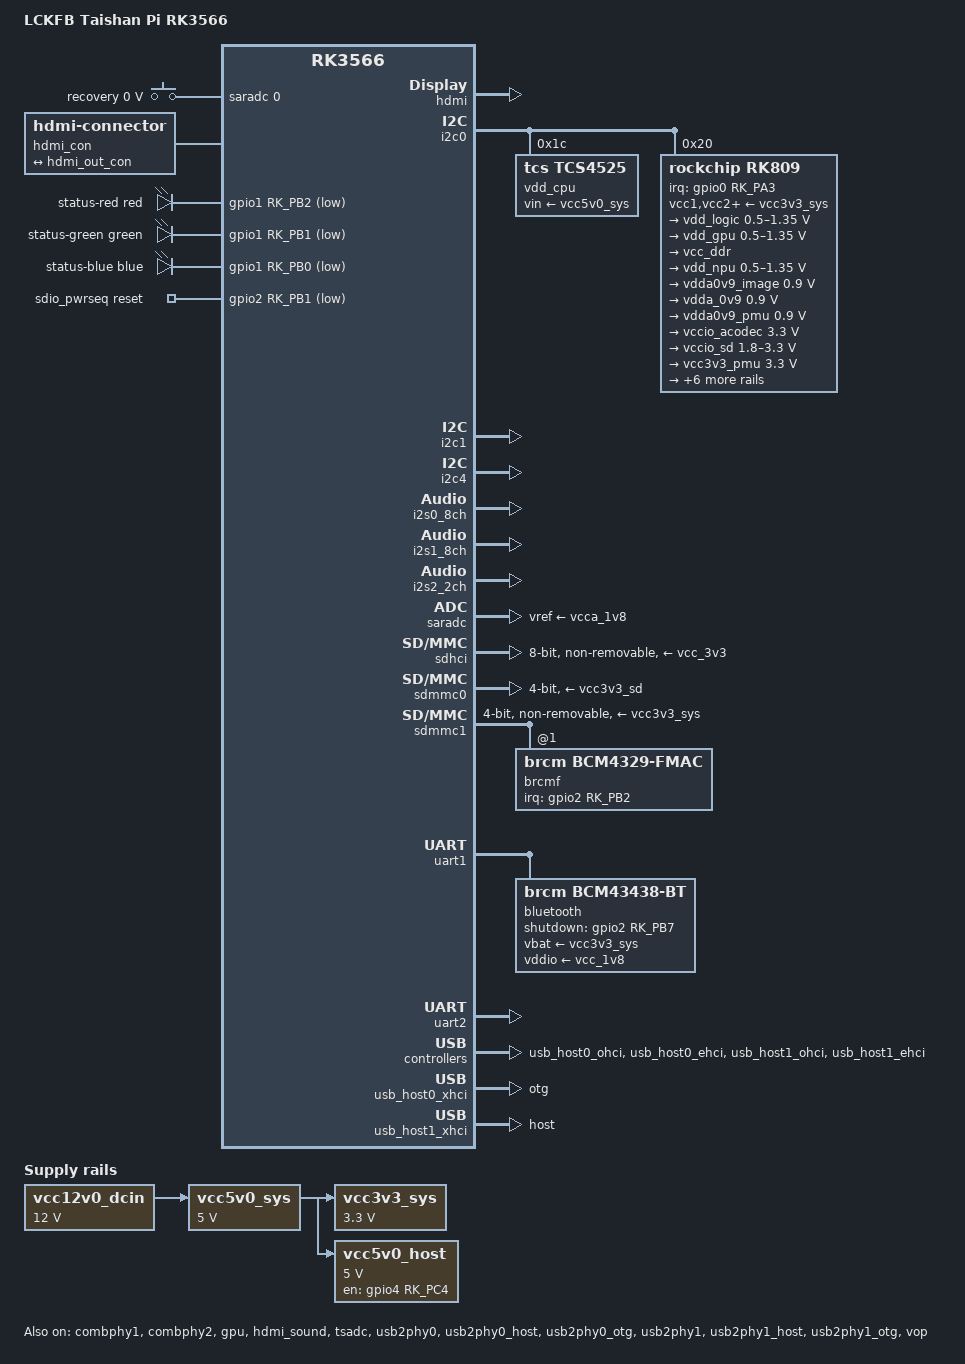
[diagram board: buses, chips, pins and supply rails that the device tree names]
// SPDX-License-Identifier: (GPL-2.0+ OR MIT)

/dts-v1/;

#include <dt-bindings/gpio/gpio.h>
#include <dt-bindings/input/input.h>
#include <dt-bindings/leds/common.h>
#include <dt-bindings/pinctrl/rockchip.h>
#include <dt-bindings/soc/rockchip,vop2.h>
#include <dt-bindings/soc/rockchip,boot-mode.h>
#include "rk3566.dtsi"

/ {
	model = "LCKFB Taishan Pi RK3566";
	compatible = "lckfb,tspi-rk3566", "rockchip,rk3566";

	aliases {
		mmc0 = &sdmmc0;
		mmc1 = &sdhci;
		mmc2 = &sdmmc1;
	};

	chosen: chosen {
		stdout-path = "serial2:1500000n8";
	};

	reserved-memory {
		#address-cells = <2>;
		#size-cells = <2>;
		ranges;

		ramoops: ramoops@110000 {
			compatible = "ramoops";
			reg = <0 0x110000 0 0xf0000>;
			console-size = <0x80000>;
			ftrace-size = <0x00000>;
			pmsg-size = <0x50000>;
			record-size = <0x20000>;
		};
	};

	adc_keys: adc-keys {
		compatible = "adc-keys";
		io-channels = <&saradc 0>;
		io-channel-names = "buttons";
		keyup-threshold-microvolt = <1800000>;
		poll-interval = <100>;

		button-recovery {
			label = "recovery";
			linux,code = <KEY_RESTART>;
			press-threshold-microvolt = <108>;
		};
	};

	hdmi_con: hdmi-con {
		compatible = "hdmi-connector";
		type = "d";

		port {
			hdmi_con_in: endpoint {
				remote-endpoint = <&hdmi_out_con>;
			};
		};
	};

	leds: leds {
		compatible = "gpio-leds";

		rgb_led_r: rgb-led-r {
			color = <LED_COLOR_ID_RED>;
			gpios = <&gpio1 RK_PB2 GPIO_ACTIVE_LOW>;
			label = "status-red";
		};

		rgb_led_g: rgb-led-g {
			gpios = <&gpio1 RK_PB1 GPIO_ACTIVE_LOW>;
			color = <LED_COLOR_ID_GREEN>;
			label = "status-green";
		};

		rgb_led_b: rgb-led-b {
			gpios = <&gpio1 RK_PB0 GPIO_ACTIVE_LOW>;
			color = <LED_COLOR_ID_BLUE>;
			label = "status-blue";
		};
	};

	multi_leds: multi-led {
		compatible = "leds-group-multicolor";
		color = <LED_COLOR_ID_RGB>;
		label = "status-rgb";
		function = LED_FUNCTION_INDICATOR;
		leds = <&rgb_led_r>, <&rgb_led_g>, <&rgb_led_b>;
	};

	vcc12v0_dcin: regulator-12v0-dcin {
		compatible = "regulator-fixed";
		regulator-name = "vcc12v0_dcin";
		regulator-always-on;
		regulator-boot-on;
		regulator-min-microvolt = <12000000>;
		regulator-max-microvolt = <12000000>;
	};

	vcc3v3_sys: regulator-3v3-vcc-sys {
		compatible = "regulator-fixed";
		regulator-name = "vcc3v3_sys";
		regulator-always-on;
		regulator-boot-on;
		regulator-min-microvolt = <3300000>;
		regulator-max-microvolt = <3300000>;
		vin-supply = <&vcc5v0_sys>;
	};

	vcc5v0_sys: regulator-5v0-vcc-sys {
		compatible = "regulator-fixed";
		regulator-name = "vcc5v0_sys";
		regulator-always-on;
		regulator-boot-on;
		regulator-min-microvolt = <5000000>;
		regulator-max-microvolt = <5000000>;
		vin-supply = <&vcc12v0_dcin>;
	};

	vcc5v0_host: regulator-5v0-vcc-host {
		compatible = "regulator-fixed";
		enable-active-high;
		gpio = <&gpio4 RK_PC4 GPIO_ACTIVE_HIGH>;
		pinctrl-names = "default";
		pinctrl-0 = <&vcc5v0_host_en>;
		regulator-name = "vcc5v0_host";
		regulator-min-microvolt = <5000000>;
		regulator-max-microvolt = <5000000>;
		vin-supply = <&vcc5v0_sys>;
	};

	sdio_pwrseq: sdio-pwrseq {
		compatible = "mmc-pwrseq-simple";
		clocks = <&rk809 1>;
		clock-names = "ext_clock";
		pinctrl-names = "default";
		pinctrl-0 = <&wifi_enable_h>;
		post-power-on-delay-ms = <200>;
		reset-gpios = <&gpio2 RK_PB1 GPIO_ACTIVE_LOW>;
	};

	sound {
		compatible = "simple-audio-card";
		simple-audio-card,format = "i2s";
		simple-audio-card,name = "Analog RK809";
		simple-audio-card,mclk-fs = <256>;

		simple-audio-card,cpu {
			sound-dai = <&i2s1_8ch>;
		};

		simple-audio-card,codec {
			sound-dai = <&rk809>;
		};
	};
};

&combphy1 {
	status = "okay";
};

&combphy2 {
	status = "okay";
};

&cpu0 {
	cpu-supply = <&vdd_cpu>;
};

&cpu1 {
	cpu-supply = <&vdd_cpu>;
};

&cpu2 {
	cpu-supply = <&vdd_cpu>;
};

&cpu3 {
	cpu-supply = <&vdd_cpu>;
};

&gpu {
	mali-supply = <&vdd_gpu>;
	status = "okay";
};

&hdmi {
	avdd-0v9-supply = <&vdda0v9_image>;
	avdd-1v8-supply = <&vcca1v8_image>;
	status = "okay";
};

&hdmi_in {
	hdmi_in_vp0: endpoint {
		remote-endpoint = <&vp0_out_hdmi>;
	};
};

&hdmi_out {
	hdmi_out_con: endpoint {
		remote-endpoint = <&hdmi_con_in>;
	};
};

&hdmi_sound {
	status = "okay";
};

&i2c0 {
	status = "okay";

	vdd_cpu: regulator@1c {
		compatible = "tcs,tcs4525";
		reg = <0x1c>;
		fcs,suspend-voltage-selector = <1>;
		regulator-name = "vdd_cpu";
		regulator-always-on;
		regulator-boot-on;
		regulator-min-microvolt = <800000>;
		regulator-max-microvolt = <1150000>;
		regulator-ramp-delay = <2300>;
		vin-supply = <&vcc5v0_sys>;

		regulator-state-mem {
			regulator-off-in-suspend;
		};
	};

	rk809: pmic@20 {
		compatible = "rockchip,rk809";
		reg = <0x20>;
		assigned-clocks = <&cru I2S1_MCLKOUT_TX>;
		assigned-clock-parents = <&cru CLK_I2S1_8CH_TX>;
		#clock-cells = <1>;
		clock-output-names = "rk808-clkout1", "rk808-clkout2";
		clock-names = "mclk";
		clocks = <&cru I2S1_MCLKOUT_TX>;
		interrupt-parent = <&gpio0>;
		interrupts = <RK_PA3 IRQ_TYPE_LEVEL_LOW>;
		pinctrl-names = "default";
		pinctrl-0 = <&pmic_int>, <&i2s1m0_mclk>;
		system-power-controller;
		#sound-dai-cells = <0>;
		wakeup-source;

		vcc1-supply = <&vcc3v3_sys>;
		vcc2-supply = <&vcc3v3_sys>;
		vcc3-supply = <&vcc3v3_sys>;
		vcc4-supply = <&vcc3v3_sys>;
		vcc5-supply = <&vcc3v3_sys>;
		vcc6-supply = <&vcc3v3_sys>;
		vcc7-supply = <&vcc3v3_sys>;
		vcc8-supply = <&vcc3v3_sys>;
		vcc9-supply = <&vcc3v3_sys>;

		regulators {
			vdd_logic: DCDC_REG1 {
				regulator-name = "vdd_logic";
				regulator-always-on;
				regulator-boot-on;
				regulator-min-microvolt = <500000>;
				regulator-max-microvolt = <1350000>;
				regulator-ramp-delay = <6001>;
				regulator-initial-mode = <0x2>;

				regulator-state-mem {
					regulator-off-in-suspend;
				};
			};

			vdd_gpu: DCDC_REG2 {
				regulator-name = "vdd_gpu";
				regulator-always-on;
				regulator-boot-on;
				regulator-min-microvolt = <500000>;
				regulator-max-microvolt = <1350000>;
				regulator-ramp-delay = <6001>;
				regulator-initial-mode = <0x2>;

				regulator-state-mem {
					regulator-off-in-suspend;
				};
			};

			vcc_ddr: DCDC_REG3 {
				regulator-name = "vcc_ddr";
				regulator-always-on;
				regulator-boot-on;
				regulator-initial-mode = <0x2>;

				regulator-state-mem {
					regulator-on-in-suspend;
				};
			};

			vdd_npu: DCDC_REG4 {
				regulator-name = "vdd_npu";
				regulator-always-on;
				regulator-boot-on;
				regulator-min-microvolt = <500000>;
				regulator-max-microvolt = <1350000>;
				regulator-ramp-delay = <6001>;
				regulator-initial-mode = <0x2>;

				regulator-state-mem {
					regulator-off-in-suspend;
				};
			};

			vdda0v9_image: LDO_REG1 {
				regulator-name = "vdda0v9_image";
				regulator-boot-on;
				regulator-always-on;
				regulator-min-microvolt = <900000>;
				regulator-max-microvolt = <900000>;

				regulator-state-mem {
					regulator-off-in-suspend;
				};
			};

			vdda_0v9: LDO_REG2 {
				regulator-name = "vdda_0v9";
				regulator-always-on;
				regulator-boot-on;
				regulator-min-microvolt = <900000>;
				regulator-max-microvolt = <900000>;
				regulator-state-mem {
					regulator-off-in-suspend;
				};
			};

			vdda0v9_pmu: LDO_REG3 {
				regulator-name = "vdda0v9_pmu";
				regulator-always-on;
				regulator-boot-on;
				regulator-min-microvolt = <900000>;
				regulator-max-microvolt = <900000>;

				regulator-state-mem {
					regulator-on-in-suspend;
					regulator-suspend-microvolt = <900000>;
				};
			};

			vccio_acodec: LDO_REG4 {
				regulator-name = "vccio_acodec";
				regulator-always-on;
				regulator-boot-on;
				regulator-min-microvolt = <3300000>;
				regulator-max-microvolt = <3300000>;

				regulator-state-mem {
					regulator-off-in-suspend;
				};
			};

			vccio_sd: LDO_REG5 {
				regulator-name = "vccio_sd";
				regulator-always-on;
				regulator-boot-on;
				regulator-min-microvolt = <1800000>;
				regulator-max-microvolt = <3300000>;

				regulator-state-mem {
					regulator-off-in-suspend;
				};
			};

			vcc3v3_pmu: LDO_REG6 {
				regulator-name = "vcc3v3_pmu";
				regulator-always-on;
				regulator-boot-on;
				regulator-min-microvolt = <3300000>;
				regulator-max-microvolt = <3300000>;

				regulator-state-mem {
					regulator-on-in-suspend;
					regulator-suspend-microvolt = <3300000>;
				};
			};

			vcca_1v8: LDO_REG7 {
				regulator-name = "vcca_1v8";
				regulator-always-on;
				regulator-boot-on;
				regulator-min-microvolt = <1800000>;
				regulator-max-microvolt = <1800000>;

				regulator-state-mem {
					regulator-off-in-suspend;
				};
			};

			vcca1v8_pmu: LDO_REG8 {
				regulator-name = "vcca1v8_pmu";
				regulator-always-on;
				regulator-boot-on;
				regulator-min-microvolt = <1800000>;
				regulator-max-microvolt = <1800000>;

				regulator-state-mem {
					regulator-on-in-suspend;
					regulator-suspend-microvolt = <1800000>;
				};
			};

			vcca1v8_image: LDO_REG9 {
				regulator-name = "vcca1v8_image";
				regulator-always-on;
				regulator-boot-on;
				regulator-min-microvolt = <1800000>;
				regulator-max-microvolt = <1800000>;

				regulator-state-mem {
					regulator-off-in-suspend;
				};
			};

			vcc_1v8: DCDC_REG5 {
				regulator-name = "vcc_1v8";
				regulator-always-on;
				regulator-boot-on;
				regulator-min-microvolt = <1800000>;
				regulator-max-microvolt = <1800000>;

				regulator-state-mem {
					regulator-off-in-suspend;
				};
			};

			vcc_3v3: SWITCH_REG1 {
				regulator-name = "vcc_3v3";
				regulator-always-on;
				regulator-boot-on;

				regulator-state-mem {
					regulator-off-in-suspend;
				};
			};

			vcc3v3_sd: SWITCH_REG2 {
				regulator-name = "vcc3v3_sd";
				regulator-always-on;
				regulator-boot-on;

				regulator-state-mem {
					regulator-off-in-suspend;
				};
			};
		};

		codec {
			rockchip,mic-in-differential;
		};
	};
};

&i2c1 {
	status = "okay";
	/* Touch Screen */
};

&i2c4 {
	pinctrl-names = "default";
	pinctrl-0 = <&i2c4m0_xfer>;
	status = "okay";
	/* Camera */
};

&i2s0_8ch {
	status = "okay";
	/* HDMI */
};

&i2s1_8ch {
	pinctrl-names = "default";
	pinctrl-0 = <&i2s1m0_sclktx &i2s1m0_lrcktx &i2s1m0_sdi0 &i2s1m0_sdo0>;
	rockchip,trcm-sync-tx-only;
	status = "okay";
	/* PMIC */
};

&i2s2_2ch {
	rockchip,trcm-sync-tx-only;
	status = "okay";
	/* AP6212 Bluetooth */
};

&pinctrl {
	bt {
		bt_enable_h: bt-enable-h {
			rockchip,pins = <2 RK_PB7 RK_FUNC_GPIO &pcfg_pull_none>;
		};

		bt_host_wake_l: bt-host-wake-l {
			rockchip,pins = <2 RK_PC0 RK_FUNC_GPIO &pcfg_pull_down>;
		};

		bt_wake_l: bt-wake-l {
			rockchip,pins = <2 RK_PC1 RK_FUNC_GPIO &pcfg_pull_none>;
		};
	};

	hp-detect {
		hp_det: hp-det {
			rockchip,pins = <4 RK_PC6 RK_FUNC_GPIO &pcfg_pull_up>;
		};
	};

	pmic {
		pmic_int: pmic-int {
			rockchip,pins = <0 RK_PA3 RK_FUNC_GPIO &pcfg_pull_up>;
		};
	};

	sdio-pwrseq {
		wifi_enable_h: wifi-enable-h {
			rockchip,pins = <2 RK_PB1 RK_FUNC_GPIO &pcfg_pull_none>;
		};

		wifi_host_wake_h: wifi-host-wake-l {
			rockchip,pins = <2 RK_PB2 RK_FUNC_GPIO &pcfg_pull_none>;
		};
	};

	usb2 {
		vcc5v0_host_en: vcc5v0-host-en {
			rockchip,pins = <4 RK_PC4 RK_FUNC_GPIO &pcfg_pull_none>;
		};
	};
};

&pmu_io_domains {
	pmuio1-supply = <&vcc3v3_pmu>;
	pmuio2-supply = <&vcc3v3_pmu>;
	vccio1-supply = <&vccio_acodec>;
	vccio2-supply = <&vcc_1v8>;
	vccio3-supply = <&vccio_sd>;
	vccio4-supply = <&vcc_1v8>;
	vccio5-supply = <&vcc_3v3>;
	vccio6-supply = <&vcc_1v8>;
	vccio7-supply = <&vcc_3v3>;
	status = "okay";
};

&pmugrf {
	reboot-mode {
		compatible = "syscon-reboot-mode";
		offset = <0x200>;
		mode-normal = <BOOT_NORMAL>;
		mode-loader = <BOOT_BL_DOWNLOAD>;
		mode-recovery = <BOOT_RECOVERY>;
		mode-bootloader = <BOOT_FASTBOOT>;
	};
};

&saradc {
	vref-supply = <&vcca_1v8>;
	status = "okay";
	/* Channel 0: Recovery Button */
	/* Channel 1: Hardware ID */
};

&sdhci {
	bus-width = <8>;
	max-frequency = <200000000>;
	non-removable;
	pinctrl-names = "default";
	pinctrl-0 = <&emmc_bus8 &emmc_clk &emmc_cmd &emmc_datastrobe &emmc_rstnout>;
	vmmc-supply = <&vcc_3v3>;
	vqmmc-supply = <&vcc_1v8>;
	status = "okay";
};

&sdmmc0 {
	bus-width = <4>;
	cap-mmc-highspeed;
	cap-sd-highspeed;
	disable-wp;
	max-frequency = <150000000>;
	pinctrl-names = "default";
	pinctrl-0 = <&sdmmc0_bus4 &sdmmc0_clk &sdmmc0_cmd &sdmmc0_det>;
	sd-uhs-sdr104;
	vmmc-supply = <&vcc3v3_sd>;
	vqmmc-supply = <&vcc_1v8>;
	status = "okay";
};

&sdmmc1 {
	bus-width = <4>;
	cap-sd-highspeed;
	cap-sdio-irq;
	disable-wp;
	keep-power-in-suspend;
	max-frequency = <150000000>;
	mmc-pwrseq = <&sdio_pwrseq>;
	non-removable;
	pinctrl-names = "default";
	pinctrl-0 = <&sdmmc1_bus4 &sdmmc1_cmd &sdmmc1_clk>;
	sd-uhs-sdr104;
	vmmc-supply = <&vcc3v3_sys>;
	vqmmc-supply = <&vcc_1v8>;
	#address-cells = <1>;
	#size-cells = <0>;
	status = "okay";

	brcmf: wifi@1 {
		compatible = "brcm,bcm4329-fmac";
		reg = <1>;
		interrupt-parent = <&gpio2>;
		interrupts = <RK_PB2 IRQ_TYPE_LEVEL_HIGH>;
		interrupt-names = "host-wake";
		pinctrl-names = "default";
		pinctrl-0 = <&wifi_host_wake_h>;
	};
};

&tsadc {
	rockchip,hw-tshut-mode = <1>;
	rockchip,hw-tshut-polarity = <0>;
	status = "okay";
};

&uart1 {
	pinctrl-names = "default";
	pinctrl-0 = <&uart1m0_xfer &uart1m0_ctsn &uart1m0_rtsn>;
	uart-has-rtscts;
	status = "okay";

	bluetooth: bluetooth {
		compatible = "brcm,bcm43438-bt";
		clocks = <&rk809 1>;
		clock-names = "lpo";
		max-speed = <3000000>;
		pinctrl-names = "default";
		pinctrl-0 = <&bt_host_wake_l &bt_wake_l &bt_enable_h>;
		shutdown-gpios = <&gpio2 RK_PB7 GPIO_ACTIVE_HIGH>;
		vbat-supply = <&vcc3v3_sys>;
		vddio-supply = <&vcc_1v8>;
	};
};

&uart2 {
	pinctrl-names = "default";
	pinctrl-0 = <&uart2m0_xfer>;
	status = "okay";
};

&usb_host0_ohci {
	status = "okay";
};

&usb_host0_ehci {
	status = "okay";
};

&usb_host0_xhci {
	dr_mode = "otg";
	status = "okay";
};

&usb_host1_ohci {
	status = "okay";
};

&usb_host1_ehci {
	status = "okay";
};

&usb_host1_xhci {
	dr_mode = "host";
	status = "okay";
};

&usb2phy0 {
	status = "okay";
};

&usb2phy0_host {
	phy-supply = <&vcc5v0_sys>;
	status = "okay";
};

&usb2phy0_otg {
	phy-supply = <&vcc5v0_sys>;
	status = "okay";
};

&usb2phy1 {
	status = "okay";
};

&usb2phy1_host {
	phy-supply = <&vcc5v0_host>;
	status = "okay";
};

&usb2phy1_otg {
	phy-supply = <&vcc5v0_host>;
	status = "okay";
};

&vop {
	assigned-clocks = <&cru DCLK_VOP0>, <&cru DCLK_VOP1>;
	assigned-clock-parents = <&pmucru PLL_HPLL>, <&cru PLL_VPLL>;
	status = "okay";
};

&vop_mmu {
	status = "okay";
};

&vp0 {
	vp0_out_hdmi: endpoint@ROCKCHIP_VOP2_EP_HDMI0 {
		reg = <ROCKCHIP_VOP2_EP_HDMI0>;
		remote-endpoint = <&hdmi_in_vp0>;
	};
};
